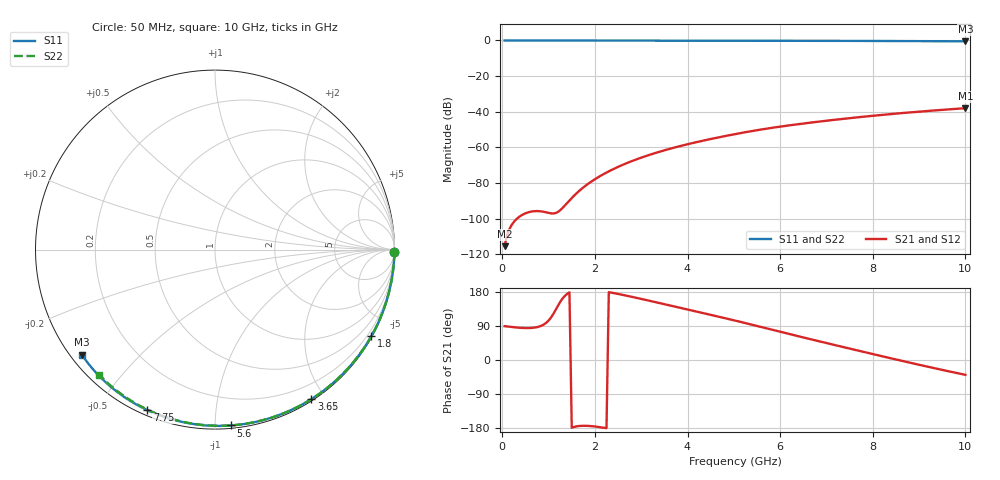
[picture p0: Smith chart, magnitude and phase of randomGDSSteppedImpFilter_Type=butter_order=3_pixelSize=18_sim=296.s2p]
! freq	dB(S11)	phase(S11)	dB(S12)	phase(S12)
!  dB(S21)	phase(S21)	dB(S22)	phase(S22)
!S-par simulation data
#  GHz  S  DB  R 50
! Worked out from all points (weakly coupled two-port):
!   200 points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, 50 MHz to 10 GHz, reference 50 ohm
!   highest |S21| = -38.01 dB at 10 GHz (marker M1); lowest = -115.4 dB at 50 MHz (marker M2)
!   lowest |S11| = -0.5 dB at 10 GHz (marker M3), VSWR 35.09, Z = 1.6 - j17.3 ohm
!   |S11| at or under -10 dB: nowhere
!   |S22| runs from -0.4 to 0.0 dB; largest |S21 - S12| = 0
!   S11 on the Smith chart (normalised r, x): 50 MHz: open; 1.8 GHz: 0.03, -3.88; 3.65 GHz: 0.02, -1.84; 5.6 GHz: 0.02, -1.10; 7.75 GHz: 0.02, -0.66; 10 GHz: 0.03, -0.35
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0.05  -0.00 -0.8  -115.43 89.3  -115.43 89.3  -0.00 -0.8
0.9  -0.02 -14.6  -96.16 93.9  -96.16 93.9  -0.02 -13.7
1.75  -0.04 -28.1  -82.47 -173.6  -82.47 -173.6  -0.03 -26.5
1.8  -0.04 -28.9  -81.45 -173.6  -81.45 -173.6  -0.03 -27.3
1.85  -0.04 -29.7  -80.50 -173.9  -80.50 -173.9  -0.04 -28.0
1.9  -0.04 -30.5  -79.58 -174.3  -79.58 -174.3  -0.04 -28.8
2.05  -0.04 -32.8  -77.05 -176.2  -77.05 -176.2  -0.04 -31.0
2.25  -0.05 -35.9  -74.11 -179.9  -74.11 -179.9  -0.04 -33.9
2.45  -0.05 -39.0  -71.53 175.5  -71.53 175.5  -0.05 -36.8
2.65  -0.05 -42.1  -69.23 170.6  -69.23 170.6  -0.05 -39.7
3  -0.06 -47.4  -65.76 161.2  -65.76 161.2  -0.06 -44.8
3.4  -0.07 -53.5  -62.40 150.1  -62.40 150.1  -0.07 -50.5
3.65  -0.08 -57.2  -60.56 143.1  -60.56 143.1  -0.07 -54.0
4.3  -0.09 -66.6  -56.43 124.8  -56.43 124.8  -0.09 -62.9
5.05  -0.12 -77.2  -52.44 103.4  -52.44 103.4  -0.11 -73.0
5.6  -0.14 -84.8  -49.93 86.8  -49.93 86.8  -0.13 -80.2
6.15  -0.16 -92.2  -47.81 70.0  -47.81 70.0  -0.15 -87.2
6.7  -0.19 -99.4  -45.97 53.6  -45.97 53.6  -0.18 -94.0
7.75  -0.26 -112.9  -42.92 22.9  -42.92 22.9  -0.25 -106.7
8.35  -0.31 -120.4  -41.41 5.6  -41.41 5.6  -0.29 -113.8
9.25  -0.39 -131.7  -39.43 -19.5  -39.43 -19.5  -0.37 -124.2
10  -0.50 -141.7  -38.01 -39.1  -38.01 -39.1  -0.45 -132.8
